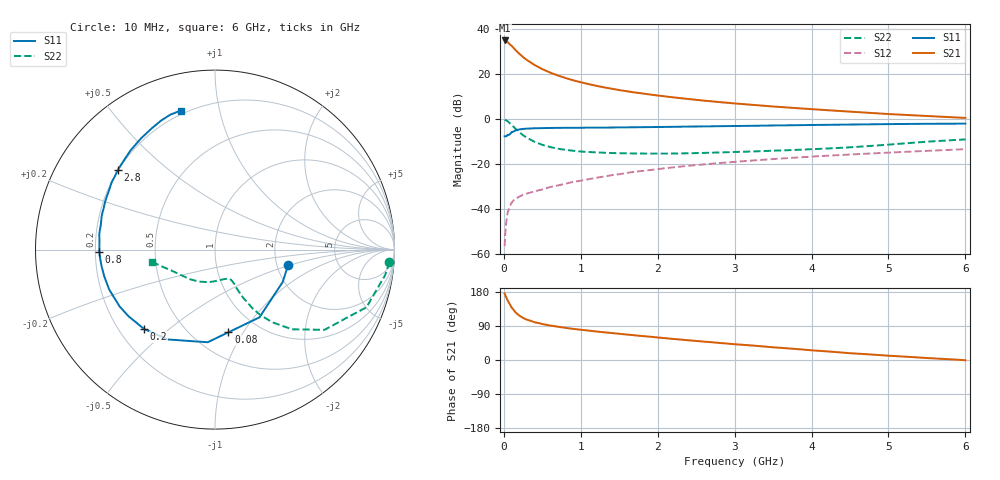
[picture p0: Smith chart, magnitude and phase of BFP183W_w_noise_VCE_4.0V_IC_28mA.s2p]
! Infineon Technologies  Discrete & RF Semiconductors
! BFP183W
! VCE =  4.0 V,  IC =  28 mA
! Common Emitter S-Parameters:  Jan 2017
# GHz  S  MA  R  50
!  f  S11  S21  S12  S22
! GHz  MAG  ANG  MAG  ANG  MAG  ANG  MAG  ANG
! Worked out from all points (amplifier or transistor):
!   77 points, 10 MHz to 6 GHz, reference 50 ohm
!   highest |S21| = 35.0 dB at 10 MHz (marker M1)
!   |S21| within 3 dB of that: start of sweep to 117.8 MHz
!   unconditionally stable (mu >= 1): 954.1 MHz to 3.451 GHz
!   at 130 MHz: K = 0.30, MSG = 33.8 dB, |S12| = -36.0 dB
!   at 2.2 GHz: K = 1.06, MAG = 14.1 dB, |S12| = -21.4 dB
!   at 6 GHz: K = 0.87, MSG = 7.0 dB, |S12| = -13.3 dB
!   lowest NFmin = 1.35 dB at 450 MHz
!   S11 on the Smith chart (normalised r, x): 10 MHz: 2.31, -0.47; 80 MHz: 0.73, -0.86; 200 MHz: 0.30, -0.41; 800 MHz: 0.22, -0.01; 2.8 GHz: 0.20, +0.35; 6 GHz: 0.18, +0.77
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0.01  0.4166 -11.6  56.5 175.6  0.0015 94.9  0.974 -4.1
0.02  0.4182 -25.6  55.63 170.2  0.0031 92.3  0.9588 -8.5
0.05  0.4515 -56.8  51.87 156.7  0.0084 70.3  0.9034 -20.8
0.08  0.4668 -80.8  46.02 146.5  0.0116 63.5  0.8074 -29.4
0.1  0.5178 -94.5  43.09 138.4  0.0138 60.7  0.7557 -36.3
0.15  0.5651 -117.6  34.96 126.1  0.0173 52.2  0.6175 -46.0
0.2  0.593 -131.8  28.71 117.3  0.0188 49.7  0.5162 -51.7
0.25  0.6082 -142.3  24.15 111.0  0.0209 48.3  0.4412 -55.4
0.3  0.6188 -149.3  20.69 106.4  0.0222 47.2  0.3856 -57.5
0.4  0.6303 -159.4  16.04 99.6  0.0248 49.4  0.3133 -59.6
0.5  0.6346 -166.2  13 94.9  0.0274 51.0  0.2696 -60.4
0.6  0.6385 -171.3  10.95 91.0  0.031 52.4  0.2411 -60.8
0.7  0.6416 -175.3  9.413 87.9  0.0336 55.1  0.2208 -60.7
0.8  0.6447 -179.0  8.275 84.8  0.0367 56.9  0.2085 -61.1
1.1  0.6504 172.6  6.051 77.6  0.0463 59.8  0.1868 -62.7
1.5  0.6582 163.8  4.454 69.2  0.0598 61.2  0.1753 -67.5
2.1  0.674 152.1  3.215 57.6  0.0813 60.7  0.172 -80.1
2.8  0.6999 140.6  2.407 45.1  0.106 58.1  0.1824 -98.7
3.1  0.7093 136.0  2.176 40.2  0.116 56.5  0.1887 -106.8
4.1  0.7472 122.4  1.633 24.2  0.1505 50.5  0.219 -132.9
5.1  0.781 111.9  1.278 10.2  0.184 44.2  0.2802 -156.9
6  0.7978 103.9  1.069 -0.6  0.2155 38.0  0.3558 -169.0
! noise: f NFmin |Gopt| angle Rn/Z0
0.45  1.35  0.26  179  0.09
0.9  1.38  0.29  -179  0.1
1.9  1.87  0.44  -157  0.1
2.4  2.12  0.49  -152  0.14
